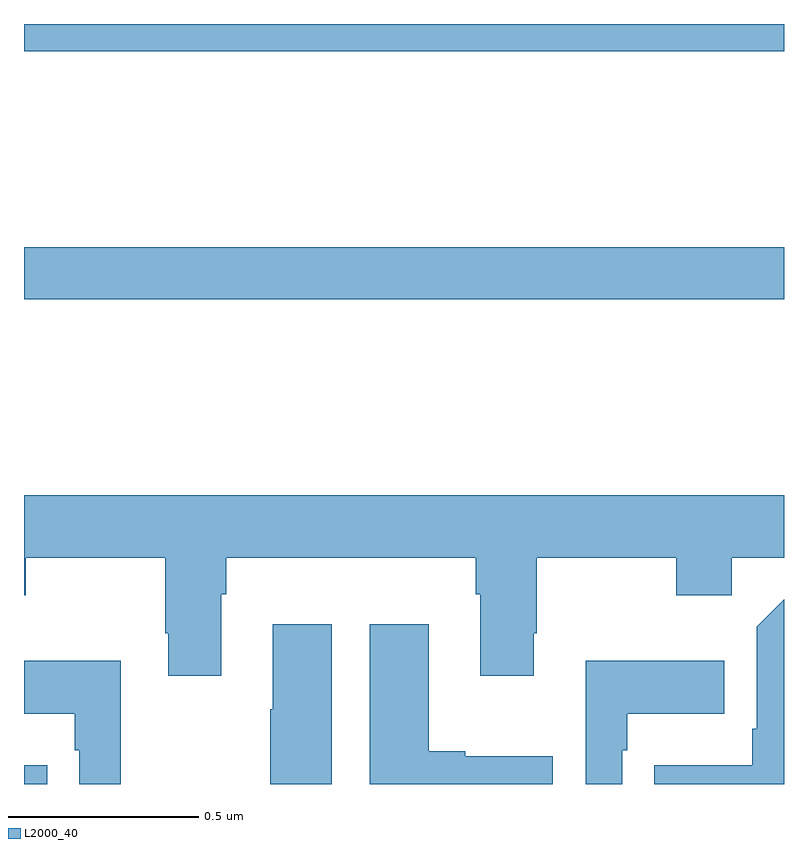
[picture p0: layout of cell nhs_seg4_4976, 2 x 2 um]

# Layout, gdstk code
import gdstk
lib = gdstk.Library(unit=1e-6, precision=1e-09)
def R(c, l, rs):  # rectangles x0, y0, x1, y1
    for r in rs: c.add(gdstk.rectangle(r[:2], r[2:], *l))
def P(c, l, *ps):  # polygons
    for p in ps: c.add(gdstk.Polygon(p, *l))
L2000_40 = (2000, 40)

nhs_seg4_4976 = lib.new_cell('nhs_seg4_4976')
R(nhs_seg4_4976, L2000_40, [(172,786.9,172.061,786.949), (172,788.176,174,788.312), (172,788.828,174,788.9)])
P(nhs_seg4_4976, L2000_40, [(172.519,787.4),(172.532,787.4),(172.532,787.496),(173.189,787.496),(173.189,787.4),(173.201,787.4),(173.201,787.185),(173.341,787.185),(173.341,787.297),(173.349,787.297),(173.349,787.496),(173.716,787.496),(173.716,787.397),(173.862,787.397),(173.862,787.496),(174,787.496),(174,787.66),(172,787.66),(172,787.397),(172.005,787.397),(172.005,787.496),(172.372,787.496),(172.372,787.297),(172.379,787.297),(172.379,787.185),(172.519,787.185)],
  [(174,787.386),(173.928,787.314),(173.928,787.045),(173.916,787.045),(173.916,786.949),(173.659,786.949),(173.659,786.9),(174,786.9)],
  [(173.392,786.973),(173.161,786.973),(173.161,786.986),(173.065,786.986),(173.065,787.321),(172.91,787.321),(172.91,786.9),(173.392,786.9)],
  [(172.81,787.321),(172.655,787.321),(172.655,787.097),(172.648,787.097),(172.648,786.9),(172.81,786.9)],
  [(172.255,787.225),(172,787.225),(172,787.085),(172.134,787.085),(172.134,786.989),(172.146,786.989),(172.146,786.9),(172.255,786.9)],
  [(173.574,786.989),(173.587,786.989),(173.587,787.085),(173.843,787.085),(173.843,787.225),(173.478,787.225),(173.478,786.9),(173.574,786.9)])

lib.write_gds('nhs_seg4_4976.gds')
